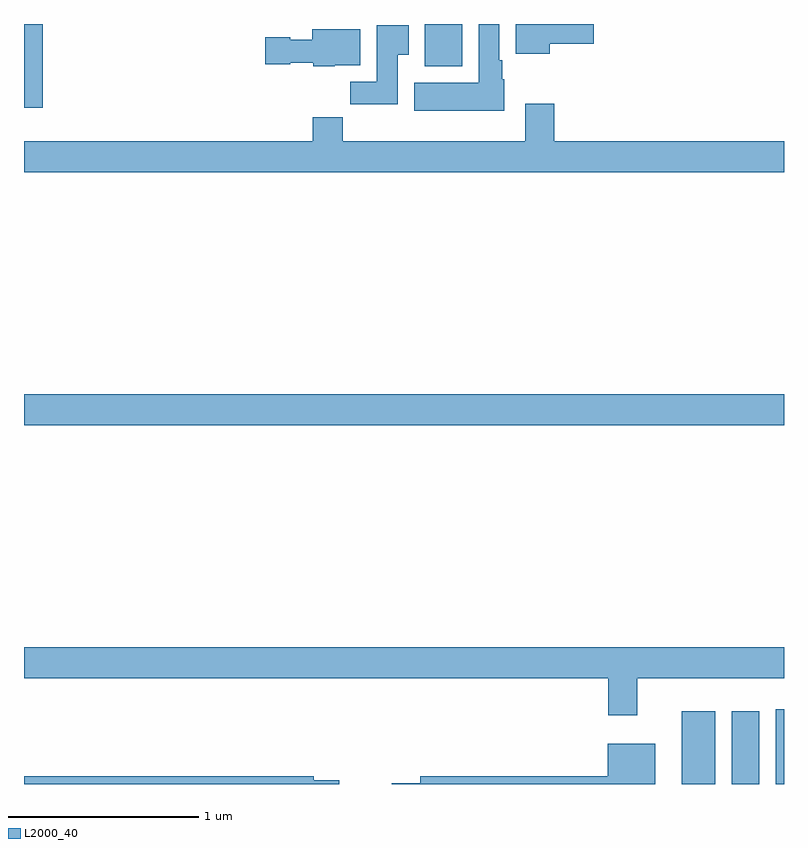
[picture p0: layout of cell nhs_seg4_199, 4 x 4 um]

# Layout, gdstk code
import gdstk
lib = gdstk.Library(unit=1e-6, precision=1e-09)
def R(c, l, rs):  # rectangles x0, y0, x1, y1
    for r in rs: c.add(gdstk.rectangle(r[:2], r[2:], *l))
def P(c, l, *ps):  # polygons
    for p in ps: c.add(gdstk.Polygon(p, *l))
L2000_40 = (2000, 40)

nhs_seg4_199 = lib.new_cell('nhs_seg4_199')
R(nhs_seg4_199, L2000_40, [(122.462,826.9,122.638,827.284), (122.726,826.9,122.869,827.284), (122.957,826.9,123,827.293), (119,828.788,123,828.952), (119,830.46,119.099,830.9), (121.109,830.678,121.306,830.9)])
P(nhs_seg4_199, L2000_40, [(121.528,830.61),(121.516,830.61),(121.516,830.71),(121.501,830.71),(121.501,830.9),(121.394,830.9),(121.394,830.59),(121.055,830.59),(121.055,830.444),(121.528,830.444)],
  [(121.768,830.795),(121.999,830.795),(121.999,830.9),(121.589,830.9),(121.589,830.744),(121.768,830.744)],
  [(120.967,830.737),(121.024,830.737),(121.024,830.893),(120.857,830.893),(120.857,830.596),(120.718,830.596),(120.718,830.478),(120.967,830.478)],
  [(120.636,830.684),(120.769,830.684),(120.769,830.872),(120.518,830.872),(120.518,830.818),(120.402,830.818),(120.402,830.831),(120.27,830.831),(120.27,830.689),(120.402,830.689),(120.402,830.696),(120.522,830.696),(120.522,830.678),(120.636,830.678)],
  [(123,830.284),(121.79,830.284),(121.79,830.479),(121.637,830.479),(121.637,830.284),(120.677,830.284),(120.677,830.408),(120.521,830.408),(120.521,830.284),(119,830.284),(119,830.12),(123,830.12)],
  [(122.227,827.456),(123,827.456),(123,827.62),(119,827.62),(119,827.456),(122.075,827.456),(122.075,827.262),(122.227,827.262)],
  [(122.323,827.113),(122.073,827.113),(122.073,826.94),(121.085,826.94),(121.085,826.904),(120.936,826.904),(120.936,826.9),(122.323,826.9)],
  [(120.658,826.92),(120.524,826.92),(120.524,826.94),(119,826.94),(119,826.9),(120.658,826.9)])

lib.write_gds('nhs_seg4_199.gds')
